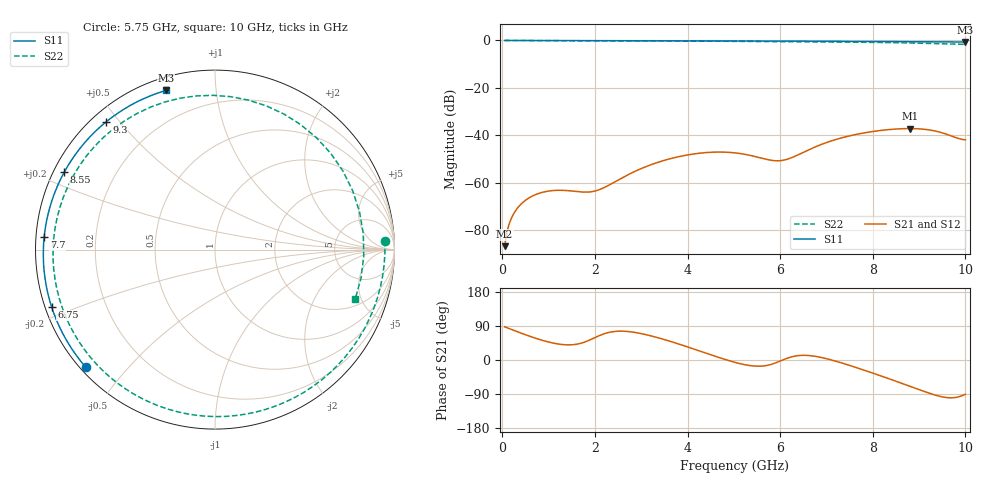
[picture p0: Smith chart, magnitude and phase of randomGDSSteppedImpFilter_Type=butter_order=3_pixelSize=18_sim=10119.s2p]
! freq	dB(S11)	phase(S11)	dB(S12)	phase(S12)
!  dB(S21)	phase(S21)	dB(S22)	phase(S22)
!S-par simulation data
#  GHz  S  DB  R 50
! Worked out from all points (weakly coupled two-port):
!   200 points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, 50 MHz to 10 GHz, reference 50 ohm
!   highest |S21| = -37.09 dB at 8.8 GHz (marker M1); lowest = -86.6 dB at 50 MHz (marker M2)
!   lowest |S11| = -0.7 dB at 10 GHz (marker M3), VSWR 26.61, Z = 2.9 + j36.9 ohm
!   |S11| at or under -10 dB: nowhere
!   |S22| runs from -1.6 to 0.0 dB; largest |S21 - S12| = 0
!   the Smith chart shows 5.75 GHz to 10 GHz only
!   S11 on the Smith chart (normalised r, x): 5.75 GHz: 0.02, -0.39; 6.75 GHz: 0.02, -0.17; 7.7 GHz: 0.02, +0.04; 8.55 GHz: 0.03, +0.24; 9.3 GHz: 0.04, +0.46; 10 GHz: 0.06, +0.74
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0.05  -0.00 -1.3  -86.60 87.6  -86.60 87.6  -0.00 -3.6
0.35  -0.01 -9.1  -70.04 73.4  -70.04 73.4  -0.04 -24.7
0.65  -0.02 -16.8  -65.50 60.2  -65.50 60.2  -0.06 -45.3
1.2  -0.04 -30.8  -63.07 42.4  -63.07 42.4  -0.10 -81.0
1.75  -0.06 -44.6  -63.83 46.1  -63.83 46.1  -0.13 -113.5
2.6  -0.08 -65.3  -57.70 76.1  -57.70 76.1  -0.17 -159.1
3.4  -0.11 -84.2  -51.05 57.5  -51.05 57.5  -0.21 159.1
4.35  -0.15 -106.0  -47.29 20.1  -47.29 20.1  -0.29 104.1
5.05  -0.19 -121.8  -47.38 -7.1  -47.38 -7.1  -0.38 56.3
5.75  -0.23 -137.6  -50.24 -13.4  -50.24 -13.4  -0.47 3.0
6.2  -0.27 -147.9  -49.70 6.6  -49.70 6.6  -0.52 -31.8
6.7  -0.31 -159.5  -45.30 10.8  -45.30 10.8  -0.59 -68.8
6.75  -0.31 -160.7  -44.88 9.9  -44.88 9.9  -0.59 -72.3
7.2  -0.36 -171.6  -41.71 -3.1  -41.71 -3.1  -0.65 -103.2
7.7  -0.41 175.9  -39.32 -22.2  -39.32 -22.2  -0.74 -136.1
8.35  -0.48 158.5  -37.52 -49.4  -37.52 -49.4  -0.89 179.9
8.55  -0.50 152.9  -37.23 -58.2  -37.23 -58.2  -0.96 164.8
8.8  -0.53 145.6  -37.09 -69.2  -37.09 -69.2  -1.05 143.9
9.3  -0.58 130.3  -37.93 -90.8  -37.93 -90.8  -1.31 90.7
9.5  -0.61 123.9  -38.90 -97.3  -38.90 -97.3  -1.44 63.1
9.7  -0.62 117.3  -40.23 -99.8  -40.23 -99.8  -1.55 31.6
10  -0.65 107.1  -41.82 -90.5  -41.82 -90.5  -1.63 -19.6
